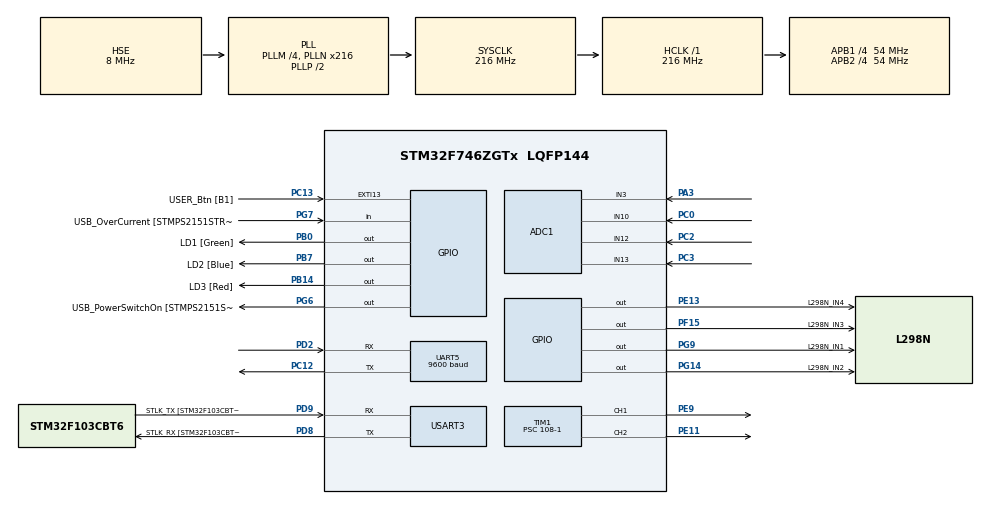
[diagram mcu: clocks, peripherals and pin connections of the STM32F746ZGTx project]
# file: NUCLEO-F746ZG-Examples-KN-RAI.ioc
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ADC1.Channel-0\#ChannelRegularConversion=ADC_CHANNEL_3
ADC1.Channel-1\#ChannelRegularConversion=ADC_CHANNEL_10
ADC1.Channel-2\#ChannelRegularConversion=ADC_CHANNEL_12
ADC1.Channel-3\#ChannelRegularConversion=ADC_CHANNEL_13
ADC1.DMAContinuousRequests=ENABLE
ADC1.EOCSelection=ADC_EOC_SEQ_CONV
ADC1.NbrOfConversion=4
ADC1.NbrOfConversionFlag=1
ADC1.Rank-0\#ChannelRegularConversion=1
ADC1.Rank-1\#ChannelRegularConversion=2
ADC1.Rank-2\#ChannelRegularConversion=3
ADC1.Rank-3\#ChannelRegularConversion=4
ADC1.SamplingTime-0\#ChannelRegularConversion=ADC_SAMPLETIME_480CYCLES
ADC1.SamplingTime-1\#ChannelRegularConversion=ADC_SAMPLETIME_480CYCLES
ADC1.SamplingTime-2\#ChannelRegularConversion=ADC_SAMPLETIME_480CYCLES
ADC1.SamplingTime-3\#ChannelRegularConversion=ADC_SAMPLETIME_3CYCLES
ADC1.master=1
Dma.ADC1.0.Direction=DMA_PERIPH_TO_MEMORY
Dma.ADC1.0.FIFOMode=DMA_FIFOMODE_DISABLE
Dma.ADC1.0.Instance=DMA2_Stream0
Dma.ADC1.0.MemDataAlignment=DMA_MDATAALIGN_HALFWORD
Dma.ADC1.0.MemInc=DMA_MINC_ENABLE
Dma.ADC1.0.Mode=DMA_CIRCULAR
Dma.ADC1.0.PeriphDataAlignment=DMA_PDATAALIGN_HALFWORD
Dma.ADC1.0.PeriphInc=DMA_PINC_DISABLE
Dma.ADC1.0.Priority=DMA_PRIORITY_LOW
Dma.Request0=ADC1
Mcu.Family=STM32F7
Mcu.Name=STM32F746ZGTx
Mcu.Package=LQFP144
NVIC.DMA2_Stream0_IRQn=true\:0\:0\:false\:false\:true\:false\:true\:true
NVIC.PriorityGroup=NVIC_PRIORITYGROUP_4
NVIC.USART3_IRQn=true\:0\:0\:false\:false\:true\:true\:true\:true
PA1.GPIO_Label=RMII_REF_CLK [LAN8742A-CZ-TR_REFCLK0]
PA1.Signal=ETH_REF_CLK
PA10.GPIO_Label=USB_ID
PA10.Signal=USB_OTG_FS_ID
PA11.GPIO_Label=USB_DM
PA11.Signal=USB_OTG_FS_DM
PA12.GPIO_Label=USB_DP
PA12.Signal=USB_OTG_FS_DP
PA13.GPIO_Label=TMS
PA13.Mode=Serial_Wire
PA13.Signal=SYS_JTMS-SWDIO
PA14.GPIO_Label=TCK
PA14.Mode=Serial_Wire
PA14.Signal=SYS_JTCK-SWCLK
PA2.GPIO_Label=RMII_MDIO [LAN8742A-CZ-TR_MDIO]
PA2.Signal=ETH_MDIO
PA3.Signal=ADCx_IN3
PA7.GPIO_Label=RMII_CRS_DV [LAN8742A-CZ-TR_CRS_DV]
PA7.Signal=ETH_CRS_DV
PA8.GPIO_Label=USB_SOF [TP1]
PA8.Signal=USB_OTG_FS_SOF
PA9.GPIO_Label=USB_VBUS
PA9.Signal=USB_OTG_FS_VBUS
PB0.GPIO_Label=LD1 [Green]
PB0.Signal=GPIO_Output
PB13.GPIO_Label=RMII_TXD1 [LAN8742A-CZ-TR_TXD1]
PB13.Signal=ETH_TXD1
PB14.GPIO_Label=LD3 [Red]
PB14.Signal=GPIO_Output
PB3.GPIO_Label=SW0
PB3.Signal=SYS_JTDO-SWO
PB7.GPIO_Label=LD2 [Blue]
PB7.Signal=GPIO_Output
PB8.Signal=S_TIM4_CH3
PB9.Signal=S_TIM4_CH4
PC0.Signal=ADCx_IN10
PC1.GPIO_Label=RMII_MDC [LAN8742A-CZ-TR_MDC]
PC1.Signal=ETH_MDC
PC12.Mode=Asynchronous
PC12.Signal=UART5_TX
PC13.GPIO_Label=USER_Btn [B1]
PC13.Signal=GPXTI13
PC14/OSC32_IN.Mode=LSE-External-Oscillator
PC14/OSC32_IN.Signal=RCC_OSC32_IN
PC15/OSC32_OUT.Mode=LSE-External-Oscillator
PC15/OSC32_OUT.Signal=RCC_OSC32_OUT
PC2.Signal=ADCx_IN12
PC3.Signal=ADCx_IN13
PC4.GPIO_Label=RMII_RXD0 [LAN8742A-CZ-TR_RXD0]
PC4.Signal=ETH_RXD0
PC5.GPIO_Label=RMII_RXD1 [LAN8742A-CZ-TR_RXD1]
PC5.Signal=ETH_RXD1
PD2.Mode=Asynchronous
PD2.Signal=UART5_RX
PD8.GPIO_Label=STLK_RX [STM32F103CBT6_PA3]
PD8.GPIO_PuPd=GPIO_PULLUP
PD8.Mode=Asynchronous
PD8.Signal=USART3_TX
PD9.GPIO_Label=STLK_TX [STM32F103CBT6_PA2]
PD9.GPIO_PuPd=GPIO_PULLUP
PD9.Mode=Asynchronous
PD9.Signal=USART3_RX
PE11.Signal=S_TIM1_CH2
PE13.GPIO_Label=L298N_IN4
PE13.Signal=GPIO_Output
PE9.Signal=S_TIM1_CH1
PF15.GPIO_Label=L298N_IN3
PF15.Signal=GPIO_Output
PG11.GPIO_Label=RMII_TX_EN [LAN8742A-CZ-TR_TXEN]
PG11.Signal=ETH_TX_EN
PG13.GPIO_Label=RMII_TXD0 [LAN8742A-CZ-TR_TXD0]
PG13.Signal=ETH_TXD0
PG14.GPIO_Label=L298N_IN2
PG14.Signal=GPIO_Output
PG6.GPIO_Label=USB_PowerSwitchOn [STMPS2151STR_EN]
PG6.Signal=GPIO_Output
PG7.GPIO_Label=USB_OverCurrent [STMPS2151STR_FAULT]
PG7.Signal=GPIO_Input
PG9.GPIO_Label=L298N_IN1
PG9.Signal=GPIO_Output
PH0/OSC_IN.GPIO_Label=MCO [STM32F103CBT6_PA8]
PH0/OSC_IN.Mode=HSE-External-Clock-Source
PH0/OSC_IN.Signal=RCC_OSC_IN
PH1/OSC_OUT.Mode=HSE-External-Clock-Source
PH1/OSC_OUT.Signal=RCC_OSC_OUT
ProjectManager.HeapSize=0x200
ProjectManager.StackSize=0x400
ProjectManager.TargetToolchain=STM32CubeIDE
RCC.48MHZClocksFreq_Value=24000000
RCC.AHBFreq_Value=216000000
RCC.APB1CLKDivider=RCC_HCLK_DIV4
RCC.APB1Freq_Value=54000000
RCC.APB1TimFreq_Value=108000000
RCC.APB2CLKDivider=RCC_HCLK_DIV4
RCC.APB2Freq_Value=54000000
RCC.APB2TimFreq_Value=108000000
RCC.CortexFreq_Value=216000000
RCC.HCLKFreq_Value=216000000
RCC.HSE_VALUE=8000000
RCC.HSI_VALUE=16000000
RCC.PLLM=4
RCC.PLLMUL=RCC_PLL_MUL9
RCC.PLLN=216
RCC.PLLQ=3
RCC.PLLSourceVirtual=RCC_PLLSOURCE_HSE
RCC.PRESCALERUSB=RCC_USBCLKSOURCE_PLL_DIV1_5
RCC.SYSCLKFreq_VALUE=216000000
RCC.SYSCLKSource=RCC_SYSCLKSOURCE_PLLCLK
RCC.SYSCLKSourceVirtual=RCC_SYSCLKSOURCE_PLLCLK
RCC.USBFreq_Value=144000000
RCC.VCOOutputFreq_Value=432000000
SH.ADCx_IN10.0=ADC1_IN10,IN10
SH.ADCx_IN12.0=ADC1_IN12,IN12
SH.ADCx_IN13.0=ADC1_IN13,IN13
SH.ADCx_IN3.0=ADC1_IN3,IN3
SH.S_TIM1_CH1.0=TIM1_CH1,PWM Generation1 CH1
SH.S_TIM1_CH2.0=TIM1_CH2,PWM Generation2 CH2
SH.S_TIM4_CH3.0=TIM4_CH3
SH.S_TIM4_CH4.0=TIM4_CH4
TIM1.Channel-PWM\ Generation1\ CH1=TIM_CHANNEL_1
TIM1.Channel-PWM\ Generation2\ CH2=TIM_CHANNEL_2
TIM1.Period=9999
TIM1.Prescaler=108-1
TIM1.Pulse-PWM\ Generation1\ CH1=0
UART5.BaudRate=9600
USART3.VirtualMode-Asynchronous=VM_ASYNC
VP_TIM1_VS_ClockSourceINT.Mode=Internal
board=NUCLEO-F746ZG

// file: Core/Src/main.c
/* USER CODE BEGIN Header */
/**
  ******************************************************************************
  * @file           : main.c
  * @brief          : Main program body
  ******************************************************************************
  * @attention
  *
  * Copyright (c) 2024 STMicroelectronics.
  * All rights reserved.
  *
  * This software is licensed under terms that can be found in the LICENSE file
  * in the root directory of this software component.
  * If no LICENSE file comes with this software, it is provided AS-IS.
  *
  ******************************************************************************
  */
/* USER CODE END Header */
#include "main.h"
#include "adc.h"
#include "dma.h"
#include "tim.h"
#include "usart.h"
#include "gpio.h"

/* USER CODE BEGIN Includes */
#include <stdio.h>
#include <string.h>
#include <stdlib.h>
#include "aio.h"
#include "l298n_config.h"
/* USER CODE END Includes */

/* USER CODE BEGIN PD */
#define __RX_BUFFER_LEN 1024
/* USER CODE END PD */

/* USER CODE BEGIN PV */
char rxCharacter = '\0';
float dutyAB = 0.0f;
float dutyA = 0.0f;
float dutyB = 0.0f;
/* USER CODE END PV */

void SystemClock_Config(void);
/* USER CODE BEGIN PFP */
int Serial_readCString(char* rx_buffer, unsigned int rx_buffer_len);
/* USER CODE END PFP */

int main(void)
{

  /* MCU Configuration--------------------------------------------------------*/

  /* Reset of all peripherals, Initializes the Flash interface and the Systick. */
  HAL_Init();

  /* Configure the system clock */
  SystemClock_Config();

  /* Initialize all configured peripherals */
  MX_GPIO_Init();
  MX_DMA_Init();
  MX_TIM1_Init();
  MX_ADC1_Init();
  MX_USART3_UART_Init();
  MX_UART5_Init();
  /* USER CODE BEGIN 2 */
  HAL_TIM_PWM_Start(&htim1, TIM_CHANNEL_1);
  HAL_TIM_PWM_Start(&htim1, TIM_CHANNEL_2);
  L298N_Init(&hdrive);

  /* USER CODE END 2 */

  /* Infinite loop */
  /* USER CODE BEGIN WHILE */
  while (1)
  {
    //while((rx_n = Serial_readCString(rx_buffer, rx_buffer_len)) == 0);

    if(HAL_UART_Receive(&huart5, (unsigned char*)&rxCharacter, sizeof(char), HAL_MAX_DELAY) == HAL_OK)
    {
      HAL_UART_Transmit(&huart5,(unsigned char*)&rxCharacter, sizeof(char), 10);
      // Receive single character
      // W -> increase duty for both motors
      // S -> decrease duty for both motors
      // D -> stop one motor, increase duty on second
      // A -> stop second motor, increase duty on both
      // Q -> stop both motors
      switch(rxCharacter)
      {
      case 'w':
        dutyA = dutyB = 0.0f;
        dutyAB = (dutyAB < 100.0f) ? (dutyAB+10.0f) : 100.0f;
        L298N_WriteDuty(&hdrive, 0, 0, dutyAB);
        L298N_WriteDuty(&hdrive, 1, 0, dutyAB);
        break;
      case 's':
        dutyA = dutyB = 0.0f;
        dutyAB = (dutyAB > -100.0f) ? (dutyAB-10.0f) : -100.0f;
        L298N_WriteDuty(&hdrive, 0, 1, -dutyAB);
        L298N_WriteDuty(&hdrive, 1, 1, -dutyAB);
        break;
      case 'd':
        dutyAB = dutyB = 0.0f;
        dutyA = (dutyA < 100.0f) ? (dutyA+10.0f) : 100.0f;
        L298N_WriteDuty(&hdrive, 0, 0, dutyA);
        L298N_WriteDuty(&hdrive, 1, 0, 0);
        break;
      case 'a':
        dutyAB = dutyA = 0.0f;
        dutyB = (dutyB < 100.0f) ? (dutyB+10.0f) : 100.0f;
        L298N_WriteDuty(&hdrive, 0, 0, 0);
        L298N_WriteDuty(&hdrive, 1, 0, dutyB);
        break;
      case 'q':
        dutyA = dutyB = dutyAB = 0.0f;
        L298N_WriteDuty(&hdrive, 0, 0, 0);
        L298N_WriteDuty(&hdrive, 1, 0, 0);
        break;
      default:
        break;
      }
    }

    /* USER CODE END WHILE */

  }
}

void SystemClock_Config(void)
{
  RCC_OscInitTypeDef RCC_OscInitStruct = {0};
  RCC_ClkInitTypeDef RCC_ClkInitStruct = {0};

  /** Configure LSE Drive Capability
  */
  HAL_PWR_EnableBkUpAccess();

  /** Configure the main internal regulator output voltage
  */
  __HAL_RCC_PWR_CLK_ENABLE();
  __HAL_PWR_VOLTAGESCALING_CONFIG(PWR_REGULATOR_VOLTAGE_SCALE1);

  /** Initializes the RCC Oscillators according to the specified parameters
  * in the RCC_OscInitTypeDef structure.
  */
  RCC_OscInitStruct.OscillatorType = RCC_OSCILLATORTYPE_HSE;
  RCC_OscInitStruct.HSEState = RCC_HSE_BYPASS;
  RCC_OscInitStruct.PLL.PLLState = RCC_PLL_ON;
  RCC_OscInitStruct.PLL.PLLSource = RCC_PLLSOURCE_HSE;
  RCC_OscInitStruct.PLL.PLLM = 4;
  RCC_OscInitStruct.PLL.PLLN = 216;
  RCC_OscInitStruct.PLL.PLLP = RCC_PLLP_DIV2;
  RCC_OscInitStruct.PLL.PLLQ = 3;
  if (HAL_RCC_OscConfig(&RCC_OscInitStruct) != HAL_OK)
  {
    Error_Handler();
  }

  /** Activate the Over-Drive mode
  */
  if (HAL_PWREx_EnableOverDrive() != HAL_OK)
  {
    Error_Handler();
  }

  /** Initializes the CPU, AHB and APB buses clocks
  */
  RCC_ClkInitStruct.ClockType = RCC_CLOCKTYPE_HCLK|RCC_CLOCKTYPE_SYSCLK
                              |RCC_CLOCKTYPE_PCLK1|RCC_CLOCKTYPE_PCLK2;
  RCC_ClkInitStruct.SYSCLKSource = RCC_SYSCLKSOURCE_PLLCLK;
  RCC_ClkInitStruct.AHBCLKDivider = RCC_SYSCLK_DIV1;
  RCC_ClkInitStruct.APB1CLKDivider = RCC_HCLK_DIV4;
  RCC_ClkInitStruct.APB2CLKDivider = RCC_HCLK_DIV4;

  if (HAL_RCC_ClockConfig(&RCC_ClkInitStruct, FLASH_LATENCY_7) != HAL_OK)
  {
    Error_Handler();
  }
}

void Error_Handler(void)
{
  __disable_irq();
  while (1)
  {
  }
}
